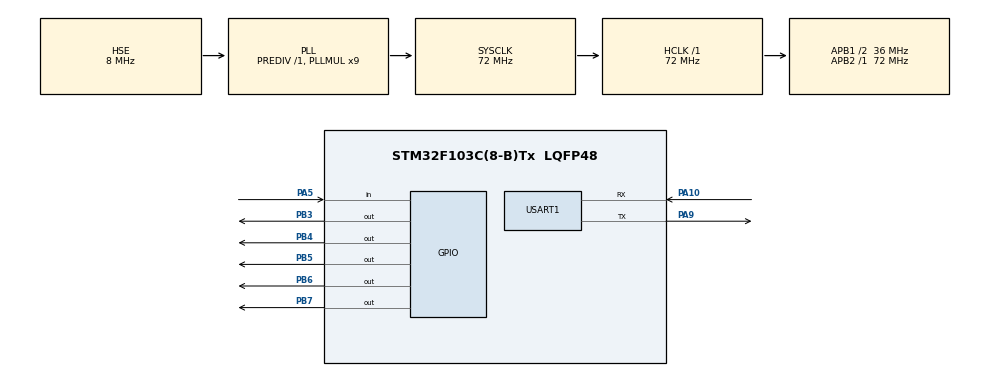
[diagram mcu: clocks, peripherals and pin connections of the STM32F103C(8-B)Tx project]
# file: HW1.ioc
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Mcu.Family=STM32F1
Mcu.Name=STM32F103C(8-B)Tx
Mcu.Package=LQFP48
NVIC.PriorityGroup=NVIC_PRIORITYGROUP_4
PA10.Mode=Asynchronous
PA10.Signal=USART1_RX
PA13.Mode=Serial_Wire
PA13.Signal=SYS_JTMS-SWDIO
PA14.Mode=Serial_Wire
PA14.Signal=SYS_JTCK-SWCLK
PA5.GPIO_PuPd=GPIO_PULLUP
PA5.Signal=GPIO_Input
PA9.Mode=Asynchronous
PA9.Signal=USART1_TX
PB3.Signal=GPIO_Output
PB4.Signal=GPIO_Output
PB5.Signal=GPIO_Output
PB6.Signal=GPIO_Output
PB7.Signal=GPIO_Output
PD0-OSC_IN.Mode=HSE-External-Oscillator
PD0-OSC_IN.Signal=RCC_OSC_IN
PD1-OSC_OUT.Mode=HSE-External-Oscillator
PD1-OSC_OUT.Signal=RCC_OSC_OUT
ProjectManager.HeapSize=0x200
ProjectManager.StackSize=0x400
ProjectManager.TargetToolchain=MDK-ARM V5.32
RCC.AHBFreq_Value=72000000
RCC.APB1CLKDivider=RCC_HCLK_DIV2
RCC.APB1Freq_Value=36000000
RCC.APB1TimFreq_Value=72000000
RCC.APB2Freq_Value=72000000
RCC.APB2TimFreq_Value=72000000
RCC.HCLKFreq_Value=72000000
RCC.PLLMUL=RCC_PLL_MUL9
RCC.PLLSourceVirtual=RCC_PLLSOURCE_HSE
RCC.SYSCLKFreq_VALUE=72000000
RCC.SYSCLKSource=RCC_SYSCLKSOURCE_PLLCLK
RCC.USBFreq_Value=72000000
USART1.VirtualMode=VM_ASYNC
board=custom

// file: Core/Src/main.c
/* USER CODE BEGIN Header */
/**
  ******************************************************************************
  * @file           : main.c
  * @brief          : Main program body
  ******************************************************************************
  * @attention
  *
  * Copyright (c) 2026 STMicroelectronics.
  * All rights reserved.
  *
  * This software is licensed under terms that can be found in the LICENSE file
  * in the root directory of this software component.
  * If no LICENSE file comes with this software, it is provided AS-IS.
  *
  ******************************************************************************
  */
/* USER CODE END Header */
#include "main.h"
#include "usart.h"
#include "gpio.h"

/* USER CODE BEGIN PTD */
#define READKEY HAL_GPIO_ReadPin(GPIOA,GPIO_PIN_5)
/* USER CODE END PTD */

void SystemClock_Config(void);
/* USER CODE BEGIN PFP */

void LED(uint8_t L)	//LED驱动
{
	if((L>>0)&0x01)
		HAL_GPIO_WritePin(GPIOB,GPIO_PIN_3,GPIO_PIN_RESET);
	else
		HAL_GPIO_WritePin(GPIOB,GPIO_PIN_3,GPIO_PIN_SET);

	if((L>>1)&0x01)
		HAL_GPIO_WritePin(GPIOB,GPIO_PIN_4,GPIO_PIN_RESET);
	else
		HAL_GPIO_WritePin(GPIOB,GPIO_PIN_4,GPIO_PIN_SET);

	if((L>>2)&0x01)
		HAL_GPIO_WritePin(GPIOB,GPIO_PIN_5,GPIO_PIN_RESET);
	else
		HAL_GPIO_WritePin(GPIOB,GPIO_PIN_5,GPIO_PIN_SET);

	if((L>>3)&0x01)
		HAL_GPIO_WritePin(GPIOB,GPIO_PIN_6,GPIO_PIN_RESET);
	else
		HAL_GPIO_WritePin(GPIOB,GPIO_PIN_6,GPIO_PIN_SET);

	if((L>>4)&0x01)
		HAL_GPIO_WritePin(GPIOB,GPIO_PIN_7,GPIO_PIN_RESET);
	else
		HAL_GPIO_WritePin(GPIOB,GPIO_PIN_7,GPIO_PIN_SET);
}

//四种LED模式
uint8_t led_M0 = 1;
void LED_Mode0(uint32_t Time)
{
	if(Time%10)
		return;
	LED(led_M0);
	if(led_M0 == 16)
		led_M0 = 1;
	else
		led_M0 <<= 1;
}

uint8_t led_M1 = 16;
void LED_Mode1(uint32_t Time)
{
	if(Time%10)
		return;
	LED(led_M1);
	if(led_M1 == 1)
		led_M1 = 16;
	else
		led_M1 >>= 1;
}

uint8_t led_M2 = 0x07;
void LED_Mode2(uint32_t Time)
{
	if(Time%30)
		return;

	if(led_M2 == 0x07)
		led_M2 = 0x1c;
	else
		led_M2 = 0x07;
	LED(led_M2);
}

uint8_t led_M3 = 0x00;
void LED_Mode3(uint32_t Time)
{
	if(Time%30)
		return;

	if(led_M3 == 0x00)
		led_M3 = 0xff;
	else
		led_M3 = 0x00;
	LED(led_M3);
}

/* USER CODE END PFP */

int main(void)
{

  /* MCU Configuration--------------------------------------------------------*/

  /* Reset of all peripherals, Initializes the Flash interface and the Systick. */
  HAL_Init();

  /* Configure the system clock */
  SystemClock_Config();

  /* Initialize all configured peripherals */
  MX_GPIO_Init();
  MX_USART1_UART_Init();
  /* USER CODE BEGIN 2 */
	uint8_t ButtonClicked = 0;
	uint8_t Mode=0;
	uint8_t UartReceiveData = 0;
	uint32_t Time = 0;
  /* USER CODE END 2 */

  /* Infinite loop */
  /* USER CODE BEGIN WHILE */
  while (1)
  {
		if(__HAL_UART_GET_FLAG(&huart1,UART_FLAG_RXNE))  //检测串口是否收到数据
		{
			HAL_UART_Receive(&huart1,&UartReceiveData,1,0xff); //读取串口数据
			HAL_Delay(1); //等待读取
			Mode = UartReceiveData%4; //把串口收到的数据映射到Mode
		}

		if(READKEY && !ButtonClicked) //检测按键按下
		{
			ButtonClicked = 1;
		}
		if(!READKEY && ButtonClicked) //检测按键松开
		{
			ButtonClicked = 0;
			Mode++;
		}

		switch(Mode%4)  //处理LED模式
		{
			case 0:
				LED_Mode0(Time);
				break;
			case 1:
				LED_Mode1(Time);
				break;
			case 2:
				LED_Mode2(Time);
				break;
			case 3:
				LED_Mode3(Time);
				break;
			default:
				break;
		}
		Time++;	//LED时间基准
		HAL_Delay(10); //循环频率约100HZ
    /* USER CODE END WHILE */

  }
}

void SystemClock_Config(void)
{
  RCC_OscInitTypeDef RCC_OscInitStruct = {0};
  RCC_ClkInitTypeDef RCC_ClkInitStruct = {0};

  /** Initializes the RCC Oscillators according to the specified parameters
  * in the RCC_OscInitTypeDef structure.
  */
  RCC_OscInitStruct.OscillatorType = RCC_OSCILLATORTYPE_HSE;
  RCC_OscInitStruct.HSEState = RCC_HSE_ON;
  RCC_OscInitStruct.HSEPredivValue = RCC_HSE_PREDIV_DIV1;
  RCC_OscInitStruct.HSIState = RCC_HSI_ON;
  RCC_OscInitStruct.PLL.PLLState = RCC_PLL_ON;
  RCC_OscInitStruct.PLL.PLLSource = RCC_PLLSOURCE_HSE;
  RCC_OscInitStruct.PLL.PLLMUL = RCC_PLL_MUL9;
  if (HAL_RCC_OscConfig(&RCC_OscInitStruct) != HAL_OK)
  {
    Error_Handler();
  }

  /** Initializes the CPU, AHB and APB buses clocks
  */
  RCC_ClkInitStruct.ClockType = RCC_CLOCKTYPE_HCLK|RCC_CLOCKTYPE_SYSCLK
                              |RCC_CLOCKTYPE_PCLK1|RCC_CLOCKTYPE_PCLK2;
  RCC_ClkInitStruct.SYSCLKSource = RCC_SYSCLKSOURCE_PLLCLK;
  RCC_ClkInitStruct.AHBCLKDivider = RCC_SYSCLK_DIV1;
  RCC_ClkInitStruct.APB1CLKDivider = RCC_HCLK_DIV2;
  RCC_ClkInitStruct.APB2CLKDivider = RCC_HCLK_DIV1;

  if (HAL_RCC_ClockConfig(&RCC_ClkInitStruct, FLASH_LATENCY_2) != HAL_OK)
  {
    Error_Handler();
  }
}

void Error_Handler(void)
{
  __disable_irq();
  while (1)
  {
  }
}
